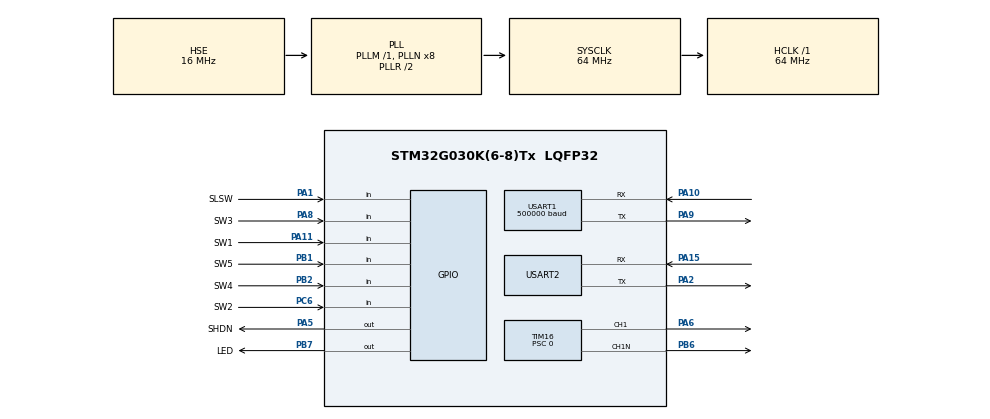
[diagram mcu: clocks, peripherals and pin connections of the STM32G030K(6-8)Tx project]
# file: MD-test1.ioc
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Dma.Request0=USART2_RX
Dma.Request1=USART1_RX
Dma.USART1_RX.1.Direction=DMA_PERIPH_TO_MEMORY
Dma.USART1_RX.1.EventEnable=DISABLE
Dma.USART1_RX.1.Instance=DMA1_Channel2
Dma.USART1_RX.1.MemDataAlignment=DMA_MDATAALIGN_BYTE
Dma.USART1_RX.1.MemInc=DMA_MINC_ENABLE
Dma.USART1_RX.1.Mode=DMA_CIRCULAR
Dma.USART1_RX.1.PeriphDataAlignment=DMA_PDATAALIGN_BYTE
Dma.USART1_RX.1.PeriphInc=DMA_PINC_DISABLE
Dma.USART1_RX.1.Polarity=HAL_DMAMUX_REQ_GEN_RISING
Dma.USART1_RX.1.Priority=DMA_PRIORITY_MEDIUM
Dma.USART1_RX.1.RequestNumber=1
Dma.USART1_RX.1.SignalID=NONE
Dma.USART1_RX.1.SyncEnable=DISABLE
Dma.USART1_RX.1.SyncPolarity=HAL_DMAMUX_SYNC_NO_EVENT
Dma.USART1_RX.1.SyncRequestNumber=1
Dma.USART1_RX.1.SyncSignalID=NONE
Dma.USART2_RX.0.Direction=DMA_PERIPH_TO_MEMORY
Dma.USART2_RX.0.EventEnable=DISABLE
Dma.USART2_RX.0.Instance=DMA1_Channel1
Dma.USART2_RX.0.MemDataAlignment=DMA_MDATAALIGN_BYTE
Dma.USART2_RX.0.MemInc=DMA_MINC_ENABLE
Dma.USART2_RX.0.Mode=DMA_CIRCULAR
Dma.USART2_RX.0.PeriphDataAlignment=DMA_PDATAALIGN_BYTE
Dma.USART2_RX.0.PeriphInc=DMA_PINC_DISABLE
Dma.USART2_RX.0.Polarity=HAL_DMAMUX_REQ_GEN_RISING
Dma.USART2_RX.0.Priority=DMA_PRIORITY_LOW
Dma.USART2_RX.0.RequestNumber=1
Dma.USART2_RX.0.SignalID=NONE
Dma.USART2_RX.0.SyncEnable=DISABLE
Dma.USART2_RX.0.SyncPolarity=HAL_DMAMUX_SYNC_NO_EVENT
Dma.USART2_RX.0.SyncRequestNumber=1
Dma.USART2_RX.0.SyncSignalID=NONE
Mcu.Family=STM32G0
Mcu.Name=STM32G030K(6-8)Tx
Mcu.Package=LQFP32
NVIC.DMA1_Channel1_IRQn=true\:0\:0\:false\:false\:true\:false\:true\:true
NVIC.DMA1_Channel2_3_IRQn=true\:0\:0\:false\:false\:true\:false\:true\:true
NVIC.TIM3_IRQn=true\:0\:0\:false\:false\:true\:true\:true\:true
PA1.GPIO_Label=SLSW
PA1.Signal=GPIO_Input
PA10.Mode=Asynchronous
PA10.Signal=USART1_RX
PA11\ [PA9].GPIO_Label=SW1
PA11\ [PA9].Signal=GPIO_Input
PA15.Mode=Asynchronous
PA15.Signal=USART2_RX
PA2.Mode=Asynchronous
PA2.Signal=USART2_TX
PA5.GPIO_Label=SHDN
PA5.Signal=GPIO_Output
PA6.Signal=S_TIM16_CH1
PA8.GPIO_Label=SW3
PA8.Signal=GPIO_Input
PA9.Mode=Asynchronous
PA9.Signal=USART1_TX
PB1.GPIO_Label=SW5
PB1.Signal=GPIO_Input
PB2.GPIO_Label=SW4
PB2.Signal=GPIO_Input
PB6.Mode=PWM Generation1 CH1 CH1N
PB6.Signal=TIM16_CH1N
PB7.GPIO_Label=LED
PB7.Signal=GPIO_Output
PC14-OSC32_IN\ (PC14).Mode=HSE-External-Clock-Source
PC14-OSC32_IN\ (PC14).Signal=RCC_OSC_IN
PC6.GPIO_Label=SW2
PC6.Signal=GPIO_Input
ProjectManager.HeapSize=0x200
ProjectManager.StackSize=0x400
ProjectManager.TargetToolchain=STM32CubeIDE
RCC.ADCFreq_Value=64000000
RCC.AHBFreq_Value=64000000
RCC.CortexFreq_Value=64000000
RCC.EXTERNAL_CLOCK_VALUE=12288000
RCC.HCLKFreq_Value=64000000
RCC.HSE_VALUE=16000000
RCC.HSI_VALUE=16000000
RCC.LSE_VALUE=32768
RCC.PLLSourceVirtual=RCC_PLLSOURCE_HSE
RCC.SYSCLKFreq_VALUE=64000000
RCC.SYSCLKSource=RCC_SYSCLKSOURCE_PLLCLK
RCC.VCOOutputFreq_Value=128000000
SH.S_TIM16_CH1.0=TIM16_CH1,PWM Generation1 CH1 CH1N
TIM16.Channel=TIM_CHANNEL_1
TIM16.OCMode_PWM=TIM_OCMODE_PWM1
TIM16.Period=3199
TIM16.Prescaler=0
TIM3.Period=9
TIM3.Prescaler=63
USART1.BaudRate=500000
USART1.VirtualMode-Asynchronous=VM_ASYNC
USART2.VirtualMode-Asynchronous=VM_ASYNC
VP_TIM16_VS_ClockSourceINT.Mode=Enable_Timer
VP_TIM3_VS_ClockSourceINT.Mode=Internal
board=custom

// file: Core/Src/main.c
/* USER CODE BEGIN Header */
/**
  ******************************************************************************
  * @file           : main.c
  * @brief          : Main program body
  ******************************************************************************
  * @attention
  *
  * Copyright (c) 2024 STMicroelectronics.
  * All rights reserved.
  *
  * This software is licensed under terms that can be found in the LICENSE file
  * in the root directory of this software component.
  * If no LICENSE file comes with this software, it is provided AS-IS.
  *
  ******************************************************************************
  */
/* USER CODE END Header */
#include "main.h"

/* USER CODE BEGIN Includes */
#include <math.h>
#include <stdio.h>
#include <stdlib.h>
#include <stdbool.h>
/* USER CODE END Includes */

TIM_HandleTypeDef htim3;
TIM_HandleTypeDef htim16;

UART_HandleTypeDef huart1;
UART_HandleTypeDef huart2;
DMA_HandleTypeDef hdma_usart1_rx;
DMA_HandleTypeDef hdma_usart2_rx;

/* USER CODE BEGIN PV */
volatile uint32_t u10_counter;
//uint32_t callback_pcounter = 0;
//uint16_t callback_dtime;

uint8_t rxBufA[64]={[0 ... 63] = 255};
uint8_t rxDataA[2]={0,50};

uint8_t rxBufB[128]={[0 ... 127] = 255};
uint8_t rxDataB[2]={0,50};

uint16_t goal_speed= 5000;//目?��?
uint16_t now_speed = 5000;//現在速度
uint16_t dif_speed;//目標と現在の差

int16_t duty = 1600;
int16_t d_duty;//dutyの変化

uint16_t dtime;

uint8_t p_wrtptA = 0;
uint8_t p_wrtptB = 0;

uint8_t p_rdptA = 0;
uint8_t p_rdptB = 0;

uint16_t stop_counterA = 0;
uint16_t stop_counterB = 0;

uint16_t error_counterA = 0;
uint16_t error_counterB = 0;

int8_t stop_flag = 0;
/* USER CODE END PV */

void SystemClock_Config(void);
static void MX_GPIO_Init(void);
static void MX_DMA_Init(void);
static void MX_USART2_UART_Init(void);
static void MX_TIM3_Init(void);
static void MX_TIM16_Init(void);
static void MX_USART1_UART_Init(void);
/* USER CODE BEGIN PFP */
void readBuf(UART_HandleTypeDef* uart, uint8_t* buf, int buf_size, uint8_t* data, int data_size, uint8_t id, uint8_t* p_wrtpt, uint8_t* p_rdpt, uint16_t* stop_counter, uint16_t* error_counter,  uint8_t go_back);
uint8_t readID();
/* USER CODE END PFP */

/* USER CODE BEGIN 0 */

void HAL_TIM_PeriodElapsedCallback(TIM_HandleTypeDef *htim)
{
    if (htim == &htim3){
        u10_counter++;
    }
}

//void HAL_UART_RxCpltCallback(UART_HandleTypeDef *huart)
//{
//	if(huart == &huart1){
//		callback_dtime = u10_counter - callback_pcounter;
//		callback_pcounter = u10_counter;
//	}
//}
/* USER CODE END 0 */

int main(void)
{

  /* MCU Configuration--------------------------------------------------------*/

  /* Reset of all peripherals, Initializes the Flash interface and the Systick. */
  HAL_Init();

  /* Configure the system clock */
  SystemClock_Config();

  /* Initialize all configured peripherals */
  MX_GPIO_Init();
  MX_DMA_Init();
  MX_USART2_UART_Init();
  MX_TIM3_Init();
  MX_TIM16_Init();
  MX_USART1_UART_Init();
  /* USER CODE BEGIN 2 */
  HAL_GPIO_WritePin(SHDN_GPIO_Port, SHDN_Pin, 0);

  HAL_TIM_Base_Start_IT(&htim3);

  HAL_TIM_PWM_Start(&htim16, TIM_CHANNEL_1);
  HAL_TIMEx_PWMN_Start(&htim16, TIM_CHANNEL_1);
  /* USER CODE END 2 */

  /* Infinite loop */
  /* USER CODE BEGIN WHILE */
  uint16_t dutyCyc = 50;

  uint32_t Ltika_pcounter = u10_counter;
  uint32_t duty_pcounter = u10_counter;
  uint32_t d_pcounter = u10_counter;

  uint8_t ID;

  if(readID() < 4){
	  ID = readID();//自身のID
  }else{
	  while(1){
		  if(u10_counter - Ltika_pcounter > 10000){
		  	HAL_GPIO_TogglePin(LED_GPIO_Port, LED_Pin);
	    	Ltika_pcounter = u10_counter;
		  }else{}
	  }
  }

  HAL_UART_Receive_DMA(&huart1,rxBufA,64);
  HAL_UART_Receive_DMA(&huart2,rxBufB,128);

  __HAL_TIM_SET_COMPARE(&htim16, TIM_CHANNEL_1, duty);

  while (1)
  {
    /* USER CODE END WHILE */

    /* USER CODE BEGIN 3 */
	  dtime = u10_counter - d_pcounter;
	  d_pcounter = u10_counter;

//if value did not update, alert by LED and motor sound.
//対?��? against DMA did not start correctly
//bus=0つまりwhen MD does not communicate with Mother,STOP(起動直後�??��がたつきと通信線繋いでな?��?とき�??��動�?)

//speed算�??��
	  readBuf(&huart1, rxBufA, 64, rxDataA, 2, 0, &p_wrtptA, &p_rdptA, &stop_counterA, &error_counterA, 10);
	  readBuf(&huart2, rxBufB, 128, rxDataB, 2, ID, &p_wrtptB, &p_rdptB, &stop_counterB, &error_counterB, 40);

	  goal_speed = rxDataB[0] + rxDataB[1]*100;//試運転用にコメント化

	  now_speed = rxDataA[0] + rxDataA[1]*100;

	  dif_speed = abs(goal_speed - now_speed);
	  d_duty = dif_speed / 50;

//P制御
	  if((u10_counter - duty_pcounter) > dutyCyc){
		  if(goal_speed < now_speed){duty -= d_duty;}
		  else if(goal_speed > now_speed){duty += d_duty;}
		  else{}
		  duty_pcounter = u10_counter;
	  }else{}

//出力リミッ?��?
	  if(duty > 3120){duty = 3120;}
	  else if(duty < 80){duty = 80;}
	  else{duty = duty;}

//stop_flag
	  if(stop_counterA > 1000){stop_flag = 0;}
	  else if(stop_counterB > 1000){stop_flag = 0;}//試運転用にコメント化
	  else if(HAL_GPIO_ReadPin(SLSW_GPIO_Port, SLSW_Pin) != 1){stop_flag = 0;}
	  else if(goal_speed > 20200){stop_flag = 0;}//shutdown command detect
	  else if(u10_counter < 100000){stop_flag = 0;}
	  else{stop_flag = 1;}

//出力部
	  if(stop_flag == 1){
		  HAL_GPIO_WritePin(SHDN_GPIO_Port, SHDN_Pin, 1);
		  __HAL_TIM_SET_COMPARE(&htim16, TIM_CHANNEL_1, 3200-duty);
	  }else{
		  HAL_GPIO_WritePin(SHDN_GPIO_Port, SHDN_Pin, 0);
		  duty = 1600;
		  __HAL_TIM_SET_COMPARE(&htim16, TIM_CHANNEL_1, 1600);
	  }

//Lチカ部
	  if(u10_counter - Ltika_pcounter > 100000){
	  	HAL_GPIO_TogglePin(LED_GPIO_Port, LED_Pin);
    	Ltika_pcounter = u10_counter;
	  }else{}

  }

  /* USER CODE END 3 */
}

void SystemClock_Config(void)
{
  RCC_OscInitTypeDef RCC_OscInitStruct = {0};
  RCC_ClkInitTypeDef RCC_ClkInitStruct = {0};

  /** Configure the main internal regulator output voltage
  */
  HAL_PWREx_ControlVoltageScaling(PWR_REGULATOR_VOLTAGE_SCALE1);

  /** Initializes the RCC Oscillators according to the specified parameters
  * in the RCC_OscInitTypeDef structure.
  */
  RCC_OscInitStruct.OscillatorType = RCC_OSCILLATORTYPE_HSE;
  RCC_OscInitStruct.HSEState = RCC_HSE_BYPASS;
  RCC_OscInitStruct.PLL.PLLState = RCC_PLL_ON;
  RCC_OscInitStruct.PLL.PLLSource = RCC_PLLSOURCE_HSE;
  RCC_OscInitStruct.PLL.PLLM = RCC_PLLM_DIV1;
  RCC_OscInitStruct.PLL.PLLN = 8;
  RCC_OscInitStruct.PLL.PLLP = RCC_PLLP_DIV2;
  RCC_OscInitStruct.PLL.PLLR = RCC_PLLR_DIV2;
  if (HAL_RCC_OscConfig(&RCC_OscInitStruct) != HAL_OK)
  {
    Error_Handler();
  }

  /** Initializes the CPU, AHB and APB buses clocks
  */
  RCC_ClkInitStruct.ClockType = RCC_CLOCKTYPE_HCLK|RCC_CLOCKTYPE_SYSCLK
                              |RCC_CLOCKTYPE_PCLK1;
  RCC_ClkInitStruct.SYSCLKSource = RCC_SYSCLKSOURCE_PLLCLK;
  RCC_ClkInitStruct.AHBCLKDivider = RCC_SYSCLK_DIV1;
  RCC_ClkInitStruct.APB1CLKDivider = RCC_HCLK_DIV1;

  if (HAL_RCC_ClockConfig(&RCC_ClkInitStruct, FLASH_LATENCY_2) != HAL_OK)
  {
    Error_Handler();
  }
}

static void MX_TIM3_Init(void)
{

  TIM_ClockConfigTypeDef sClockSourceConfig = {0};
  TIM_MasterConfigTypeDef sMasterConfig = {0};

  htim3.Instance = TIM3;
  htim3.Init.Prescaler = 63;
  htim3.Init.CounterMode = TIM_COUNTERMODE_UP;
  htim3.Init.Period = 9;
  htim3.Init.ClockDivision = TIM_CLOCKDIVISION_DIV1;
  htim3.Init.AutoReloadPreload = TIM_AUTORELOAD_PRELOAD_DISABLE;
  if (HAL_TIM_Base_Init(&htim3) != HAL_OK)
  {
    Error_Handler();
  }
  sClockSourceConfig.ClockSource = TIM_CLOCKSOURCE_INTERNAL;
  if (HAL_TIM_ConfigClockSource(&htim3, &sClockSourceConfig) != HAL_OK)
  {
    Error_Handler();
  }
  sMasterConfig.MasterOutputTrigger = TIM_TRGO_RESET;
  sMasterConfig.MasterSlaveMode = TIM_MASTERSLAVEMODE_DISABLE;
  if (HAL_TIMEx_MasterConfigSynchronization(&htim3, &sMasterConfig) != HAL_OK)
  {
    Error_Handler();
  }

}

static void MX_TIM16_Init(void)
{

  TIM_OC_InitTypeDef sConfigOC = {0};
  TIM_BreakDeadTimeConfigTypeDef sBreakDeadTimeConfig = {0};

  htim16.Instance = TIM16;
  htim16.Init.Prescaler = 0;
  htim16.Init.CounterMode = TIM_COUNTERMODE_UP;
  htim16.Init.Period = 3199;
  htim16.Init.ClockDivision = TIM_CLOCKDIVISION_DIV1;
  htim16.Init.RepetitionCounter = 0;
  htim16.Init.AutoReloadPreload = TIM_AUTORELOAD_PRELOAD_DISABLE;
  if (HAL_TIM_Base_Init(&htim16) != HAL_OK)
  {
    Error_Handler();
  }
  if (HAL_TIM_PWM_Init(&htim16) != HAL_OK)
  {
    Error_Handler();
  }
  sConfigOC.OCMode = TIM_OCMODE_PWM1;
  sConfigOC.Pulse = 0;
  sConfigOC.OCPolarity = TIM_OCPOLARITY_HIGH;
  sConfigOC.OCNPolarity = TIM_OCNPOLARITY_HIGH;
  sConfigOC.OCFastMode = TIM_OCFAST_DISABLE;
  sConfigOC.OCIdleState = TIM_OCIDLESTATE_RESET;
  sConfigOC.OCNIdleState = TIM_OCNIDLESTATE_RESET;
  if (HAL_TIM_PWM_ConfigChannel(&htim16, &sConfigOC, TIM_CHANNEL_1) != HAL_OK)
  {
    Error_Handler();
  }
  sBreakDeadTimeConfig.OffStateRunMode = TIM_OSSR_DISABLE;
  sBreakDeadTimeConfig.OffStateIDLEMode = TIM_OSSI_DISABLE;
  sBreakDeadTimeConfig.LockLevel = TIM_LOCKLEVEL_OFF;
  sBreakDeadTimeConfig.DeadTime = 0;
  sBreakDeadTimeConfig.BreakState = TIM_BREAK_DISABLE;
  sBreakDeadTimeConfig.BreakPolarity = TIM_BREAKPOLARITY_HIGH;
  sBreakDeadTimeConfig.BreakFilter = 0;
  sBreakDeadTimeConfig.AutomaticOutput = TIM_AUTOMATICOUTPUT_DISABLE;
  if (HAL_TIMEx_ConfigBreakDeadTime(&htim16, &sBreakDeadTimeConfig) != HAL_OK)
  {
    Error_Handler();
  }
  HAL_TIM_MspPostInit(&htim16);

}

static void MX_USART1_UART_Init(void)
{

  huart1.Instance = USART1;
  huart1.Init.BaudRate = 500000;
  huart1.Init.WordLength = UART_WORDLENGTH_8B;
  huart1.Init.StopBits = UART_STOPBITS_1;
  huart1.Init.Parity = UART_PARITY_NONE;
  huart1.Init.Mode = UART_MODE_TX_RX;
  huart1.Init.HwFlowCtl = UART_HWCONTROL_NONE;
  huart1.Init.OverSampling = UART_OVERSAMPLING_16;
  huart1.Init.OneBitSampling = UART_ONE_BIT_SAMPLE_DISABLE;
  huart1.Init.ClockPrescaler = UART_PRESCALER_DIV1;
  huart1.AdvancedInit.AdvFeatureInit = UART_ADVFEATURE_NO_INIT;
  if (HAL_UART_Init(&huart1) != HAL_OK)
  {
    Error_Handler();
  }
  if (HAL_UARTEx_SetTxFifoThreshold(&huart1, UART_TXFIFO_THRESHOLD_1_8) != HAL_OK)
  {
    Error_Handler();
  }
  if (HAL_UARTEx_SetRxFifoThreshold(&huart1, UART_RXFIFO_THRESHOLD_1_8) != HAL_OK)
  {
    Error_Handler();
  }
  if (HAL_UARTEx_DisableFifoMode(&huart1) != HAL_OK)
  {
    Error_Handler();
  }

}

static void MX_USART2_UART_Init(void)
{

  huart2.Instance = USART2;
  huart2.Init.BaudRate = 115200;
  huart2.Init.WordLength = UART_WORDLENGTH_8B;
  huart2.Init.StopBits = UART_STOPBITS_1;
  huart2.Init.Parity = UART_PARITY_NONE;
  huart2.Init.Mode = UART_MODE_TX_RX;
  huart2.Init.HwFlowCtl = UART_HWCONTROL_NONE;
  huart2.Init.OverSampling = UART_OVERSAMPLING_16;
  huart2.Init.OneBitSampling = UART_ONE_BIT_SAMPLE_DISABLE;
  huart2.Init.ClockPrescaler = UART_PRESCALER_DIV1;
  huart2.AdvancedInit.AdvFeatureInit = UART_ADVFEATURE_NO_INIT;
  if (HAL_UART_Init(&huart2) != HAL_OK)
  {
    Error_Handler();
  }

}

static void MX_DMA_Init(void)
{

  /* DMA controller clock enable */
  __HAL_RCC_DMA1_CLK_ENABLE();

  /* DMA interrupt init */
  /* DMA1_Channel1_IRQn interrupt configuration */
  HAL_NVIC_SetPriority(DMA1_Channel1_IRQn, 0, 0);
  HAL_NVIC_EnableIRQ(DMA1_Channel1_IRQn);
  /* DMA1_Channel2_3_IRQn interrupt configuration */
  HAL_NVIC_SetPriority(DMA1_Channel2_3_IRQn, 0, 0);
  HAL_NVIC_EnableIRQ(DMA1_Channel2_3_IRQn);

}

static void MX_GPIO_Init(void)
{
  GPIO_InitTypeDef GPIO_InitStruct = {0};

  /* GPIO Ports Clock Enable */
  __HAL_RCC_GPIOC_CLK_ENABLE();
  __HAL_RCC_GPIOA_CLK_ENABLE();
  __HAL_RCC_GPIOB_CLK_ENABLE();

  /*Configure GPIO pin Output Level */
  HAL_GPIO_WritePin(SHDN_GPIO_Port, SHDN_Pin, GPIO_PIN_RESET);

  /*Configure GPIO pin Output Level */
  HAL_GPIO_WritePin(LED_GPIO_Port, LED_Pin, GPIO_PIN_RESET);

  /*Configure GPIO pins : SLSW_Pin SW3_Pin SW1_Pin */
  GPIO_InitStruct.Pin = SLSW_Pin|SW3_Pin|SW1_Pin;
  GPIO_InitStruct.Mode = GPIO_MODE_INPUT;
  GPIO_InitStruct.Pull = GPIO_NOPULL;
  HAL_GPIO_Init(GPIOA, &GPIO_InitStruct);

  /*Configure GPIO pin : SHDN_Pin */
  GPIO_InitStruct.Pin = SHDN_Pin;
  GPIO_InitStruct.Mode = GPIO_MODE_OUTPUT_PP;
  GPIO_InitStruct.Pull = GPIO_NOPULL;
  GPIO_InitStruct.Speed = GPIO_SPEED_FREQ_LOW;
  HAL_GPIO_Init(SHDN_GPIO_Port, &GPIO_InitStruct);

  /*Configure GPIO pins : SW5_Pin SW4_Pin */
  GPIO_InitStruct.Pin = SW5_Pin|SW4_Pin;
  GPIO_InitStruct.Mode = GPIO_MODE_INPUT;
  GPIO_InitStruct.Pull = GPIO_NOPULL;
  HAL_GPIO_Init(GPIOB, &GPIO_InitStruct);

  /*Configure GPIO pin : SW2_Pin */
  GPIO_InitStruct.Pin = SW2_Pin;
  GPIO_InitStruct.Mode = GPIO_MODE_INPUT;
  GPIO_InitStruct.Pull = GPIO_NOPULL;
  HAL_GPIO_Init(SW2_GPIO_Port, &GPIO_InitStruct);

  /*Configure GPIO pin : LED_Pin */
  GPIO_InitStruct.Pin = LED_Pin;
  GPIO_InitStruct.Mode = GPIO_MODE_OUTPUT_PP;
  GPIO_InitStruct.Pull = GPIO_NOPULL;
  GPIO_InitStruct.Speed = GPIO_SPEED_FREQ_LOW;
  HAL_GPIO_Init(LED_GPIO_Port, &GPIO_InitStruct);

}

/* USER CODE BEGIN 4 */
void readBuf(UART_HandleTypeDef* uart, uint8_t* buf, int buf_size, uint8_t* data, int data_size, uint8_t id, uint8_t* p_wrtpt, uint8_t* p_rdpt, uint16_t* stop_counter, uint16_t* error_counter, uint8_t go_back){
	int wrt_pt = uart->hdmarx->Instance->CNDTR;
	wrt_pt= buf_size - wrt_pt;
	int rd_pt;

	if(wrt_pt != *p_rdpt){//wrtに追?��?付かれてな?��?
		if(buf[*p_rdpt] == 255){//p_rdptが書き換えられてな?��?=追?��?越されてな?��?
			if(wrt_pt != *p_wrtpt){//wrt_ptが�??��んだ=受信した
//正常
				*stop_counter = 0;
				rd_pt = *p_rdpt;
			}else{//wrt_ptが�??��んでな?��?=受信してな?��?
//受信してな?��?
				(*stop_counter)++;
				rd_pt = *p_rdpt;
			}
		}else{//p_rdptが書き換えられた=追?��?越された
//追?��?越された
			(*error_counter)++;
			rd_pt = wrt_pt - go_back;
				if(rd_pt < 0){rd_pt += buf_size;}
		}
	}else{//wrtに追?��?付かれた,追?��?付い?��?
		int front_pt = wrt_pt + 1;
			if(front_pt>buf_size-1){front_pt -= buf_size;}

		if(buf[front_pt] == 255){
//追?��?付い?��?
			(*stop_counter)++;
			rd_pt = *p_rdpt;
		}else{
//追?��?付かれた
			(*error_counter)++;
			rd_pt = wrt_pt - go_back;
				if(rd_pt < 0){rd_pt += buf_size;}
		}
	}

	if(*stop_counter > 65500){*stop_counter = 65500;}
	if(*error_counter > 65500){*error_counter = 65500;}

	while(1){
		int dif_pt = wrt_pt - rd_pt;
			if(dif_pt < 0){dif_pt += buf_size;}
		if(dif_pt <= go_back/2){break;}

		rd_pt++;
			if(rd_pt>buf_size-1){rd_pt -= buf_size;}

		if(buf[rd_pt] == 250+id){
			int goal_rdpt = rd_pt + data_size;//data_sizeに0はとれな?��?,25以上も?��??��?

				if(goal_rdpt>buf_size-1){goal_rdpt -= buf_size;}
			int temp_rdpt = rd_pt;

			buf[rd_pt] = 255;

			for(int i=0; i<data_size; i++){
				temp_rdpt += 1;
					if(temp_rdpt>buf_size-1){temp_rdpt -= buf_size;}

				data[i] = buf[temp_rdpt];
				buf[temp_rdpt] = 255;
			}

			rd_pt = temp_rdpt;

			dif_pt = wrt_pt - rd_pt;
				if(dif_pt < 0){dif_pt += buf_size;}
			if(dif_pt >= buf_size/2){}
			else{break;}
		}else{buf[rd_pt] = 255;}
	}

	*p_rdpt = rd_pt;
//	*p_wrtpt = buf_size - (uart->hdmarx->Instance->CNDTR);
	*p_wrtpt = wrt_pt;
}

uint8_t readID(){
	uint8_t id;
	if(HAL_GPIO_ReadPin(SW1_GPIO_Port, SW1_Pin)==1){id=0;}
	else if(HAL_GPIO_ReadPin(SW2_GPIO_Port, SW2_Pin)==1){id=1;}
	else if(HAL_GPIO_ReadPin(SW3_GPIO_Port, SW3_Pin)==1){id=2;}
	else if(HAL_GPIO_ReadPin(SW4_GPIO_Port, SW4_Pin)==1){id=3;}
	else if(HAL_GPIO_ReadPin(SW5_GPIO_Port, SW5_Pin)==1){id=4;}
	else{id=5;}
	return id;
}
/* USER CODE END 4 */

void Error_Handler(void)
{
  __disable_irq();
  while (1)
  {
  }
}
